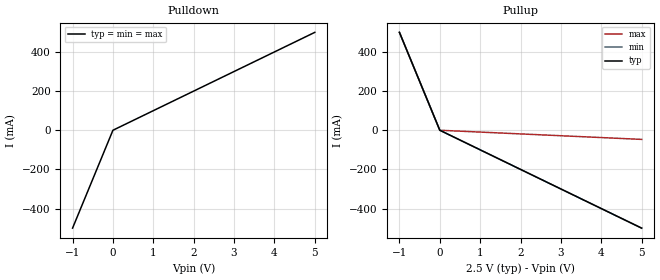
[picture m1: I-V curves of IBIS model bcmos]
[IBIS Ver]   3.2
[File Name]   bug74.ibs
[File Rev]   1.0
[Date]   08/27/02
[Source]   None.
[Notes]   None.
[Disclaimer]   None.
[Copyright]   None.
[Component]   None.
[Manufacturer]  None.
[Package]
| variable   typ   min   max
R_pkg   1.0m   NA   NA
L_pkg   0.01nH   NA   NA
C_pkg   0.01pF   NA   NA
[Pin]   signal_name   model_name   R_pin   L_pin   C_pin
  1   inout   bcmos   1.0m   0.01nH  0.01pF
| Models and submodels in the file (1): bcmos (I/O)
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| buf_io model definition
[Model]   bcmos
Model_type   I/O
Polarity   Non-Inverting
Enable   Active-High
Vinl  =   1.15V
Vinh  =   1.35V
| *** PROBLEM AREA:  standard load subparameters are missing.
|Vmeas =   1.25V
|Cref  =   10pF
|Rref  =   1000
|Vref  =   0
|   typ   min   max
C_comp   1.15pF   1.15pF   1.15pF
[Temperature Range]   55.0   85.0   25.0
[Voltage Range]   2.50V   2.375V   2.625V
[Ramp]
|   typ   min   max
dV/dt_r   0.836/0.405n   0.723/0.456n   0.958/0.358n
dV/dt_f   0.834/0.389n   0.744/0.470n   0.930/0.340n
R_load = 50
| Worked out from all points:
|   slope of the pulldown table from 0 to 0.375 V, typ, clamps not added: 10 ohm
|   slope of the pullup table from 0 to 0.375 V, typ, clamps not added: 10 ohm
[Pulldown]
| voltage   I(typ)   I(min)   I(max)
-1V       -500mA     -500mA     -500mA
0V        0A         0A         0A
5V        500mA      500mA      500mA
[Pullup]
| voltage   I(typ)   I(min)   I(max)
-1V       500mA      500mA      500mA
0V        0A         6.117uA    7.539uA
5V        -500mA     -500mA     -46.67mA
